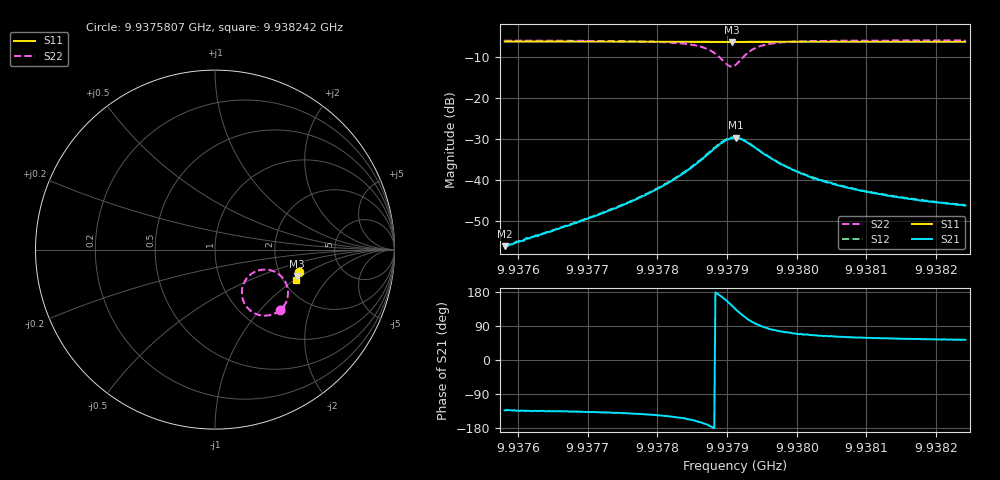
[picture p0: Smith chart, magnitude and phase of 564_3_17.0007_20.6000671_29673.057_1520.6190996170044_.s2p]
#  HZ  S  RI  R  50.00
! Rohde & Schwarz Vector Network Analyzer
! Rohde-Schwarz,ZNB20-2Port,1311601062101988,3.16
! Created: UTC 3/20/2024, 11:17:20 PM
! freq[Hz]  re:S11  im:S11  re:S21  im:S21  re:S12  im:S12  re:S22  im:S22
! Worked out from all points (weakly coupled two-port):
!   401 points, 9.9375807 GHz to 9.938242 GHz, reference 50 ohm
!   highest |S21| = -29.78 dB at 9.937913 GHz (marker M1); lowest = -56.2 dB at 9.9375807 GHz (marker M2)
!   lowest |S11| = -6.4 dB at 9.9379064 GHz (marker M3), VSWR 2.83, Z = 121 - j45.8 ohm
!   |S11| at or under -10 dB: nowhere
!   |S22| runs from -12.4 to -6.1 dB; largest |S21 - S12| = 0.0015
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9.93758074e9  0.4655 -0.1268  -0.00105 -0.00114  -0.00108 -0.00114  0.3639 -0.3367
9.9376915e9  0.4627 -0.1343  -0.0023 -0.00217  -0.00236 -0.00218  0.3471 -0.3482
9.93775762e9  0.461 -0.1388  -0.00403 -0.0033  -0.00415 -0.00328  0.3284 -0.3579
9.93780225e9  0.4596 -0.1419  -0.00656 -0.00438  -0.00676 -0.00437  0.3048 -0.3655
9.93783531e9  0.4583 -0.1441  -0.0105 -0.00526  -0.0107 -0.00519  0.2711 -0.368
9.93786507e9  0.4568 -0.1461  -0.0174 -0.00428  -0.018 -0.00393  0.2138 -0.3513
9.93787829e9  0.4558 -0.1469  -0.0225 -0.00132  -0.0231 -0.000853  0.1777 -0.3202
9.93789152e9  0.4548 -0.1469  -0.0273 0.0058  -0.0277 0.00655  0.1504 -0.2566
9.93789978e9  0.4543 -0.1467  -0.028 0.0126  -0.0283 0.0139  0.1557 -0.2003
9.9379064e9  0.4542 -0.1464  -0.0261 0.0187  -0.026 0.02  0.1801 -0.1563
9.93791136e9  0.4545 -0.1463  -0.0231 0.0226  -0.0227 0.0238  0.21 -0.1307
9.93791301e9  0.4544 -0.146  -0.0221 0.0238  -0.0214 0.0249  0.2211 -0.1242
9.93792127e9  0.455 -0.1461  -0.015 0.0269  -0.0145 0.0277  0.2798 -0.1113
9.93793119e9  0.4556 -0.1465  -0.00747 0.0267  -0.00675 0.0272  0.3378 -0.1259
9.93793946e9  0.4561 -0.1472  -0.0031 0.0246  -0.00238 0.0249  0.3692 -0.149
9.93794938e9  0.4561 -0.148  0.00042 0.0216  0.000824 0.0218  0.3908 -0.1776
9.93798078e9  0.456 -0.1509  0.00408 0.0145  0.00438 0.0143  0.4067 -0.241
9.93800393e9  0.4555 -0.1527  0.00457 0.0114  0.00474 0.0114  0.4042 -0.2667
9.93802211e9  0.4551 -0.1542  0.00432 0.00956  0.00464 0.00979  0.4005 -0.2801
9.93806013e9  0.4542 -0.1569  0.00406 0.00747  0.00427 0.00746  0.3928 -0.2987
9.93813286e9  0.4521 -0.1617  0.00346 0.00532  0.00361 0.00534  0.3814 -0.3179
9.93824196e9  0.4491 -0.1688  0.0029 0.0039  0.00302 0.00391  0.3692 -0.3332
